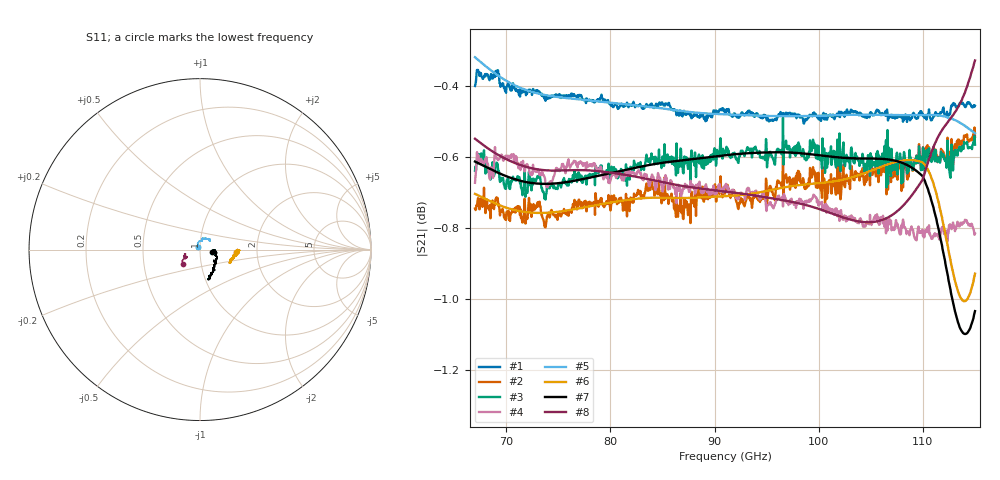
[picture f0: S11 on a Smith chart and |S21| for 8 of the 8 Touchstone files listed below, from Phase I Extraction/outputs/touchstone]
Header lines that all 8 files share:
! Generated by Phase I extraction
# Hz S RI R 50
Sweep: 67 GHz to 115 GHz
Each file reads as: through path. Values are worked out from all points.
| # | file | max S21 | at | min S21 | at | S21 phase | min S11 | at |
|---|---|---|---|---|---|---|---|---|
| 1 | EXTRACTED_THRU_P1P2_STRAIGHT_67-115.s2p | -0.36 dB | 67.19 GHz | -0.5 dB | 98.58 GHz | -5 deg at 91 GHz | -35.6 dB | 67 GHz |
| 2 | EXTRACTED_THRU_P1P4_ARC_67-115.s2p | -0.52 dB | 115 GHz | -0.8 dB | 73.77 GHz | -98 deg at 91 GHz | -14.7 dB | 110.6 GHz |
| 3 | EXTRACTED_THRU_P1P4_DIAGONAL_67-115.s2p | -0.49 dB | 96.57 GHz | -0.7 dB | 73.77 GHz | -99 deg at 91 GHz | -22.7 dB | 67 GHz |
| 4 | EXTRACTED_THRU_P3P4_STRAIGHT_67-115.s2p | -0.57 dB | 68.92 GHz | -0.8 dB | 112.4 GHz | -6 deg at 91 GHz | -21.2 dB | 71.08 GHz |
| 5 | FINALFIT_GLOBALWIN_EXTRACTED_THRU_P1P2_STRAIGHT_67-115.s2p | -0.32 dB | 67 GHz | -0.5 dB | 115 GHz | -5 deg at 91 GHz | -35.6 dB | 67 GHz |
| 6 | FINALFIT_GLOBALWIN_EXTRACTED_THRU_P1P4_ARC_67-115.s2p | -0.61 dB | 108.7 GHz | -1.0 dB | 114 GHz | -72 deg at 91 GHz | -14.7 dB | 110.6 GHz |
| 7 | FINALFIT_GLOBALWIN_EXTRACTED_THRU_P1P4_DIAGONAL_67-115.s2p | -0.59 dB | 96.04 GHz | -1.1 dB | 114 GHz | -65 deg at 91 GHz | -22.7 dB | 67 GHz |
| 8 | FINALFIT_GLOBALWIN_EXTRACTED_THRU_P3P4_STRAIGHT_67-115.s2p | -0.33 dB | 115 GHz | -0.8 dB | 104.7 GHz | -5 deg at 91 GHz | -21.2 dB | 71.08 GHz |
